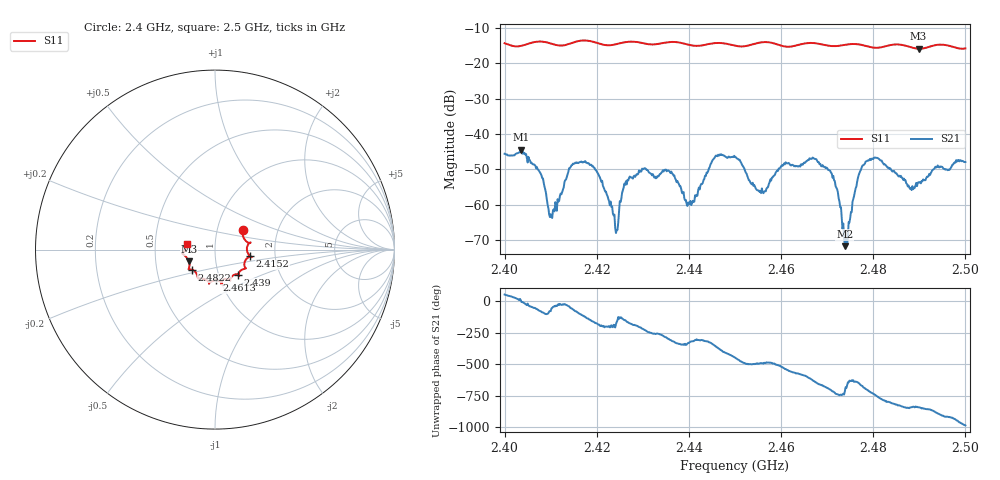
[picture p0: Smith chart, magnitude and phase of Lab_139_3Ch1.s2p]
# Hz S RI R 50
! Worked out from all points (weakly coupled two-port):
!   601 points, 2.4 GHz to 2.5 GHz, reference 50 ohm
!   highest |S21| = -44.43 dB at 2.4035 GHz (marker M1); lowest = -71.7 dB at 2.4738 GHz (marker M2)
!   lowest |S11| = -15.9 dB at 2.4898 GHz (marker M3), VSWR 1.38, Z = 37 - j5.01 ohm
!   |S11| at or under -10 dB: start of sweep to end of sweep
!   S12 and S22 are empty: the file has one direction only
!   S11 on the Smith chart (normalised r, x): 2.4 GHz: 1.33, +0.31; 2.4152 GHz: 1.48, -0.11; 2.439 GHz: 1.24, -0.36; 2.4613 GHz: 0.96, -0.34; 2.4822 GHz: 0.76, -0.17; 2.5 GHz: 0.73, +0.05
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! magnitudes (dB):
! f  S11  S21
! 2.4 GHz  -14.4  -45.6
! 2.4035 GHz  -15.1  -44.4
! 2.4078 GHz  -13.9  -51.2
! 2.4102 GHz  -14.5  -63.5
! 2.4152 GHz  -14.0  -48.4
! 2.4167 GHz  -13.6  -47.8
! 2.4202 GHz  -14.3  -51.0
! 2.4242 GHz  -14.6  -68.0
! 2.4268 GHz  -14.0  -53.1
! 2.4333 GHz  -14.5  -52.0
! 2.439 GHz  -14.5  -58.2
! 2.45 GHz  -15.0  -46.5
! 2.4558 GHz  -14.1  -55.4
! 2.4613 GHz  -15.3  -48.3
! 2.4667 GHz  -14.3  -47.0
! 2.4712 GHz  -15.2  -52.4
! 2.4738 GHz  -14.8  -71.7
! 2.4775 GHz  -14.8  -49.4
! 2.4822 GHz  -15.4  -48.3
! 2.4833 GHz  -15.0  -49.5
! 2.4898 GHz  -15.9  -53.7
! 2.5 GHz  -15.8  -47.9
